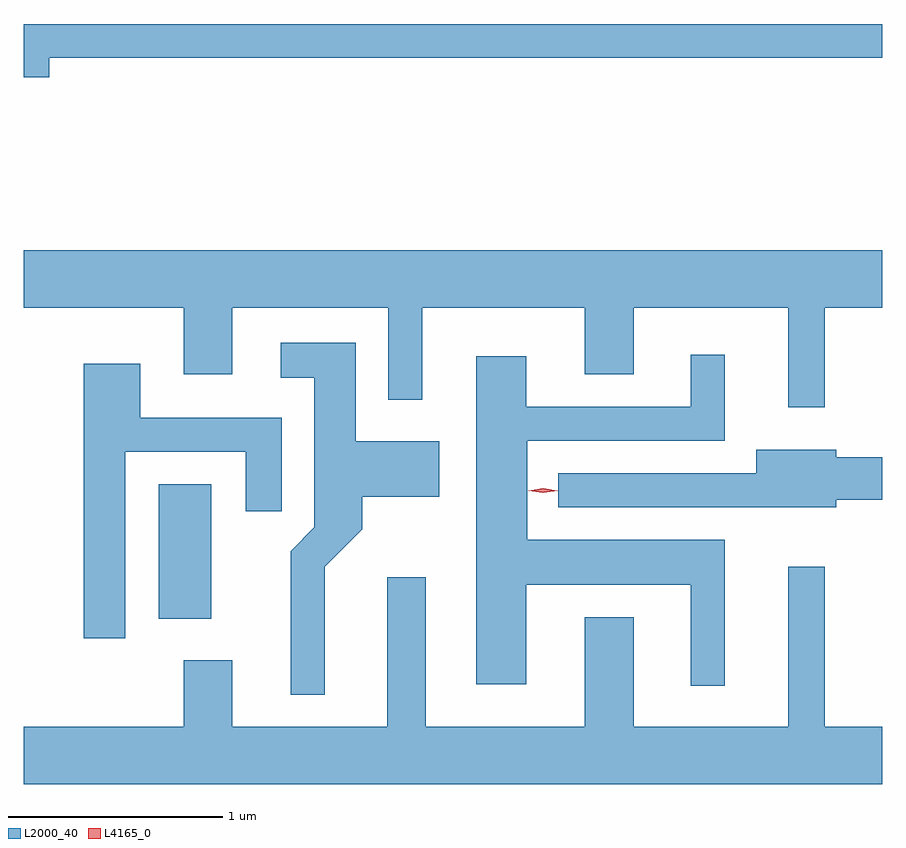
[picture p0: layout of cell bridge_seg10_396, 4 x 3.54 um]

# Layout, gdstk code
import gdstk
lib = gdstk.Library(unit=1e-6, precision=1e-09)
def R(c, l, rs):  # rectangles x0, y0, x1, y1
    for r in rs: c.add(gdstk.rectangle(r[:2], r[2:], *l))
def P(c, l, *ps):  # polygons
    for p in ps: c.add(gdstk.Polygon(p, *l))
L2000_40 = (2000, 40)
L4165_0 = (4165, 0)

bridge_seg10_396 = lib.new_cell('bridge_seg10_396')
R(bridge_seg10_396, L2000_40, [(1362.666,2101.366,1362.909,2101.994)])
P(bridge_seg10_396, L2000_40, [(1362.154,2103.981),(1366.037,2103.981),(1366.037,2104.139),(1362.037,2104.139),(1362.037,2103.891),(1362.154,2103.891)],
  [(1365.769,2102.816),(1366.037,2102.816),(1366.037,2103.084),(1362.037,2103.084),(1362.037,2102.816),(1362.781,2102.816),(1362.781,2102.506),(1363.009,2102.506),(1363.009,2102.816),(1363.736,2102.816),(1363.736,2102.388),(1363.894,2102.388),(1363.894,2102.816),(1364.651,2102.816),(1364.651,2102.506),(1364.879,2102.506),(1364.879,2102.816),(1365.601,2102.816),(1365.601,2102.353),(1365.769,2102.353)],
  [(1363.439,2101.609),(1363.614,2101.784),(1363.614,2101.936),(1363.974,2101.936),(1363.974,2102.194),(1363.584,2102.194),(1363.584,2102.654),(1363.233,2102.654),(1363.233,2102.491),(1363.391,2102.491),(1363.391,2101.792),(1363.281,2101.682),(1363.281,2101.013),(1363.439,2101.013)],
  [(1365.304,2101.734),(1364.384,2101.734),(1364.384,2102.196),(1365.304,2102.196),(1365.304,2102.598),(1365.146,2102.598),(1365.146,2102.354),(1364.379,2102.354),(1364.379,2102.589),(1364.146,2102.589),(1364.146,2101.061),(1364.379,2101.061),(1364.379,2101.526),(1365.146,2101.526),(1365.146,2101.053),(1365.304,2101.053)],
  [(1362.509,2102.146),(1363.071,2102.146),(1363.071,2101.868),(1363.239,2101.868),(1363.239,2102.304),(1362.579,2102.304),(1362.579,2102.554),(1362.316,2102.554),(1362.316,2101.276),(1362.509,2101.276)],
  [(1365.824,2101.921),(1366.037,2101.921),(1366.037,2102.119),(1365.824,2102.119),(1365.824,2102.154),(1365.451,2102.154),(1365.451,2102.044),(1364.528,2102.044),(1364.528,2101.886),(1365.824,2101.886)],
  [(1366.037,2100.864),(1365.769,2100.864),(1365.769,2101.608),(1365.601,2101.608),(1365.601,2100.864),(1364.879,2100.864),(1364.879,2101.374),(1364.651,2101.374),(1364.651,2100.864),(1363.909,2100.864),(1363.909,2101.559),(1363.731,2101.559),(1363.731,2100.864),(1363.009,2100.864),(1363.009,2101.174),(1362.781,2101.174),(1362.781,2100.864),(1362.037,2100.864),(1362.037,2100.596),(1366.037,2100.596)])
P(bridge_seg10_396, L4165_0, [(1364.457,2101.954),(1364.388,2101.963),(1364.387,2101.964),(1364.388,2101.964),(1364.457,2101.974),(1364.526,2101.964),(1364.526,2101.964),(1364.526,2101.963)],
  [(1364.456,2101.954),(1364.39,2101.963),(1364.39,2101.964),(1364.39,2101.964),(1364.456,2101.974),(1364.522,2101.964),(1364.523,2101.964),(1364.522,2101.963)])

lib.write_gds('bridge_seg10_396.gds')
